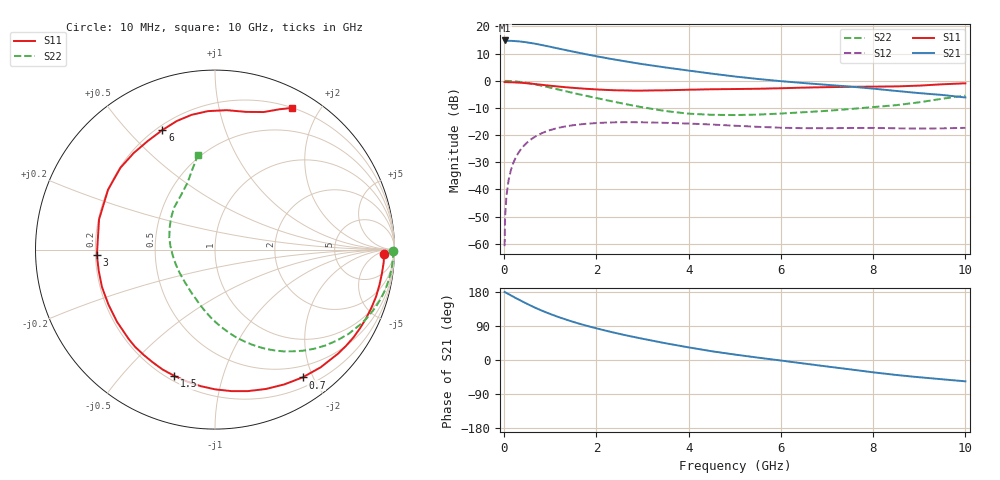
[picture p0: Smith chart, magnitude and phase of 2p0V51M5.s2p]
! (c) 2009  Infineon Technologies AG, Munich
! Infineon Technologies  Discrete & RF Semiconductors
! BFP420
! VCE =  0.5 V,  IC =  1.5 mA
! Common Emitter S-Parameters:  Nov 2009
# GHz  S  MA  R  50
!  f  S11  S21  S12  S22
! GHz  MAG  ANG  MAG  ANG  MAG  ANG  MAG  ANG
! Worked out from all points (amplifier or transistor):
!   46 points, 10 MHz to 10 GHz, reference 50 ohm
!   highest |S21| = 14.8 dB at 10 MHz (marker M1)
!   |S21| within 3 dB of that: start of sweep to 1.184 GHz
!   unconditionally stable (mu >= 1): 4.162 GHz to end of sweep
!   at 300 MHz: K = 0.04, MSG = 20.7 dB, |S12| = -26.8 dB
!   at 1.7 GHz: K = 0.36, MSG = 13.0 dB, |S12| = -16.0 dB
!   at 10 GHz: K = 1.22, MAG = 2.8 dB, |S12| = -17.3 dB
!   lowest NFmin = 0.52 dB at 900 MHz
!   S11 on the Smith chart (normalised r, x): 10 MHz: 28, -13; 700 MHz: 0.33, -1.85; 1.5 GHz: 0.23, -0.70; 3 GHz: 0.21, -0.02; 6 GHz: 0.22, +0.63; 10 GHz: 0.21, +1.66
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0.01  0.9428 -1.5  5.517 179.4  0.0009 86.4  0.9925 -0.3
0.02  0.941 -1.6  5.365 179.1  0.003 86.5  0.993 -1.1
0.05  0.9428 -4.1  5.399 176.8  0.0077 88.8  0.9928 -2.8
0.15  0.9372 -12.2  5.424 170.3  0.0232 82.4  0.9858 -8.5
0.3  0.9251 -24.4  5.323 160.5  0.0457 74.8  0.9622 -16.8
0.45  0.9057 -36.4  5.151 151.1  0.0667 67.3  0.9261 -24.7
0.6  0.8813 -48.1  4.926 142.1  0.0854 60.2  0.881 -32.1
0.7  0.8631 -55.6  4.758 136.5  0.0965 55.7  0.8476 -36.7
1  0.8095 -76.9  4.221 121.4  0.1236 43.8  0.7455 -49.1
1.2  0.7787 -89.9  3.879 112.4  0.1372 36.9  0.6814 -56.3
1.5  0.7391 -107.9  3.432 100.6  0.1519 27.9  0.5952 -65.7
1.7  0.7174 -119.0  3.172 93.4  0.159 22.6  0.5456 -71.3
2.2  0.6781 -143.7  2.629 77.5  0.1695 11.3  0.4425 -84.0
2.6  0.6634 -161.7  2.297 66.2  0.1723 3.5  0.376 -94.0
3  0.659 -177.3  2.024 56.1  0.1717 -3.1  0.3245 -103.8
3.5  0.6675 165.4  1.755 44.2  0.1679 -10.1  0.2766 -117.6
4.5  0.6968 139.1  1.352 23.1  0.1562 -20.4  0.2359 -147.1
5.5  0.7119 121.6  1.078 6.3  0.1418 -25.9  0.238 -172.2
6  0.7278 113.7  0.983 -1.4  0.1364 -27.1  0.2489 175.9
7  0.7621 99.9  0.84 -17.1  0.1336 -28.4  0.2791 155.0
8.5  0.7865 77.3  0.649 -39.5  0.1331 -33.6  0.3551 122.7
10  0.8971 61.6  0.492 -56.3  0.1359 -34.9  0.5332 100.4
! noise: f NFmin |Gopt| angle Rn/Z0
0.9  0.52  0.55  33  0.27
1.8  1.07  0.35  77  0.21
2.4  1.18  0.36  101  0.18
3  1.41  0.36  134  0.13
4  1.68  0.4  -172  0.1
5  2.08  0.44  -130  0.32
6  2.89  0.57  -114  0.39
